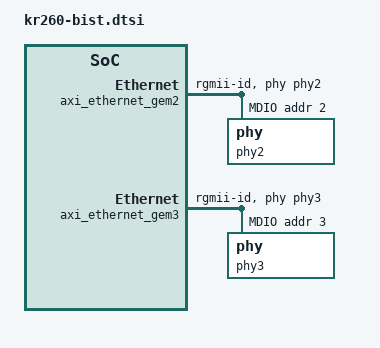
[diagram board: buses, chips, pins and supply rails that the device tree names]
// SPDX-License-Identifier: GPL-2.0
/*
 * dts file for Xilinx KR260 bist
 *
 * (C) Copyright 2023, Advanced Micro Devices, Inc.
 *
 */

/dts-v1/;
/plugin/;

&fpga_full {
	#address-cells = <2>;
	#size-cells = <2>;
	firmware-name = "kr260-bist.bit.bin";
	resets = <&zynqmp_reset 116>;
};

&amba {
	afi0: afi0 {
		compatible = "xlnx,afi-fpga";
		config-afi = <0 0>, <1 0>, <2 0>, <3 0>, <4 0>, <5 0>, <6 0>, <7 0>, <8 0>, <9 0>, <10 0>, <11 0>, <12 0>, <13 0>, <14 0xa00>, <15 0x000>;
	};
	clocking0: clocking0 {
		#clock-cells = <0>;
		assigned-clock-rates = <99999001>;
		assigned-clocks = <&zynqmp_clk 71>;
		clock-output-names = "fabric_clk";
		clocks = <&zynqmp_clk 71>;
		compatible = "xlnx,fclk";
	};
	clocking1: clocking1 {
		#clock-cells = <0>;
		assigned-clock-rates = <99999001>;
		assigned-clocks = <&zynqmp_clk 72>;
		clock-output-names = "fabric_clk";
		clocks = <&zynqmp_clk 72>;
		compatible = "xlnx,fclk";
	};
	misc_clk_0: misc_clk_0 {
		#clock-cells = <0>;
		clock-frequency = <125000000>;
		compatible = "fixed-clock";
	};
	misc_clk_1: misc_clk_1 {
		#clock-cells = <0>;
		clock-frequency = <333333333>;
		compatible = "fixed-clock";
	};
	axi_dma_gem2: dma@a0010000 {
		#dma-cells = <1>;
		clock-names = "s_axi_lite_aclk", "m_axi_sg_aclk", "m_axi_mm2s_aclk", "m_axi_s2mm_aclk";
		clocks = <&zynqmp_clk 71>, <&misc_clk_0>, <&misc_clk_0>, <&misc_clk_0>;
		compatible = "xlnx,eth-dma";
		interrupt-names = "mm2s_introut", "s2mm_introut";
		interrupt-parent = <&gic>;
		interrupts = <0 93 4 0 94 4>;
		reg = <0x0 0xa0010000 0x0 0x10000>;
		xlnx,addrwidth = /bits/ 8 <0x20>;
		xlnx,num-queues = /bits/ 16 <0x1>;
	};
	axi_ethernet_gem2: ethernet@a0140000 {
		axistream-connected = <&axi_dma_gem2>;
		clock-names = "s_axi_lite_clk", "axis_clk", "gtx_clk", "ref_clk";
		clocks = <&zynqmp_clk 71>, <&misc_clk_0>, <&misc_clk_0>, <&misc_clk_1>;
		compatible = "xlnx,axi-ethernet-7.2", "xlnx,axi-ethernet-1.00.a";
		device_type = "network";
		interrupt-names = "mac_irq", "interrupt", "mm2s_introut", "s2mm_introut";
		interrupt-parent = <&gic>;
		interrupts = <0 95 1 0 96 4 0 93 4 0 94 4>;
		local-mac-address = [00 0a 35 00 00 00];
		phy-mode = "rgmii-id";
		reg = <0x0 0xa0140000 0x0 0x40000>;
		xlnx,channel-ids = "1";
		xlnx,num-queues = /bits/ 16 <0x1>;
		phy-handle = <&phy2>;
		xlnx,rxcsum = <0x0>;
		xlnx,rxmem = <0x1000>;
		xlnx,txcsum = <0x0>;
		axi_ethernet_gem2_mdio: mdio {
			#address-cells = <1>;
			#size-cells = <0>;
			phy2: phy@2 {
				reg = <0x2>;
				ti,rx-internal-delay = <0x4>;
				ti,tx-internal-delay = <0x4>;
				tx-fifo-depth = <0x1>;
				rx-fifo-depth = <0x1>;
				ti,dp83867-rxctrl-strap-quirk;
			};
		};
	};
	axi_dma_gem3: dma@a0000000 {
		#dma-cells = <1>;
		clock-names = "s_axi_lite_aclk", "m_axi_sg_aclk", "m_axi_mm2s_aclk", "m_axi_s2mm_aclk";
		clocks = <&zynqmp_clk 71>, <&misc_clk_0>, <&misc_clk_0>, <&misc_clk_0>;
		compatible = "xlnx,eth-dma";
		interrupt-names = "mm2s_introut", "s2mm_introut";
		interrupt-parent = <&gic>;
		interrupts = <0 91 4 0 92 4>;
		reg = <0x0 0xa0000000 0x0 0x10000>;
		xlnx,addrwidth = /bits/ 8 <0x20>;
		xlnx,num-queues = /bits/ 16 <0x1>;
	};
	axi_ethernet_gem3: ethernet@a0040000 {
		axistream-connected = <&axi_dma_gem3>;
		clock-names = "s_axi_lite_clk", "axis_clk", "gtx_clk";
		clocks = <&zynqmp_clk 71>, <&misc_clk_0>, <&misc_clk_0>;
		compatible = "xlnx,axi-ethernet-7.2", "xlnx,axi-ethernet-1.00.a";
		device_type = "network";
		interrupt-names = "mac_irq", "interrupt", "mm2s_introut", "s2mm_introut";
		interrupt-parent = <&gic>;
		interrupts = <0 89 1 0 90 4 0 91 4 0 92 4>;
		local-mac-address = [00 0a 35 00 00 01];
		phy-mode = "rgmii-id";
		reg = <0x0 0xa0040000 0x0 0x40000>;
		xlnx,channel-ids = "1";
		xlnx,num-queues = /bits/ 16 <0x1>;
		phy-handle = <&phy3>;
		xlnx,rxcsum = <0x0>;
		xlnx,rxmem = <0x1000>;
		xlnx,txcsum = <0x0>;
		axi_ethernet_gem3_mdio: mdio {
			#address-cells = <1>;
			#size-cells = <0>;
			phy3: phy@3 {
				reg = <0x3>;
				ti,rx-internal-delay = <0x4>;
				ti,tx-internal-delay = <0x4>;
				tx-fifo-depth = <0x1>;
				rx-fifo-depth = <0x1>;
				ti,dp83867-rxctrl-strap-quirk;
			};
		};
	};
};

